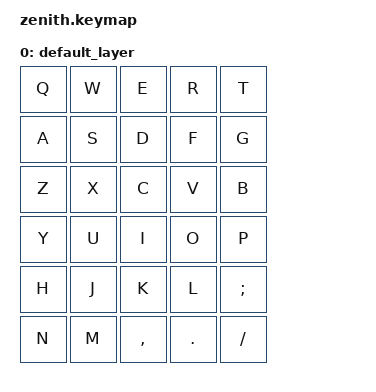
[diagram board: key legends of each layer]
#include <behaviors.dtsi>
#include <dt-bindings/zmk/keys.h>

/ {
    keymap {
        compatible = "zmk,keymap";

        default_layer {
            bindings = <
                &kp Q     &kp W     &kp E     &kp R     &kp T
                &kp A     &kp S     &kp D     &kp F     &kp G
                &kp Z     &kp X     &kp C     &kp V     &kp B
                &kp Y     &kp U     &kp I     &kp O     &kp P
                &kp H     &kp J     &kp K     &kp L     &kp SEMI
                &kp N     &kp M     &kp COMMA &kp DOT   &kp FSLH
            >;
        };
    };
};
